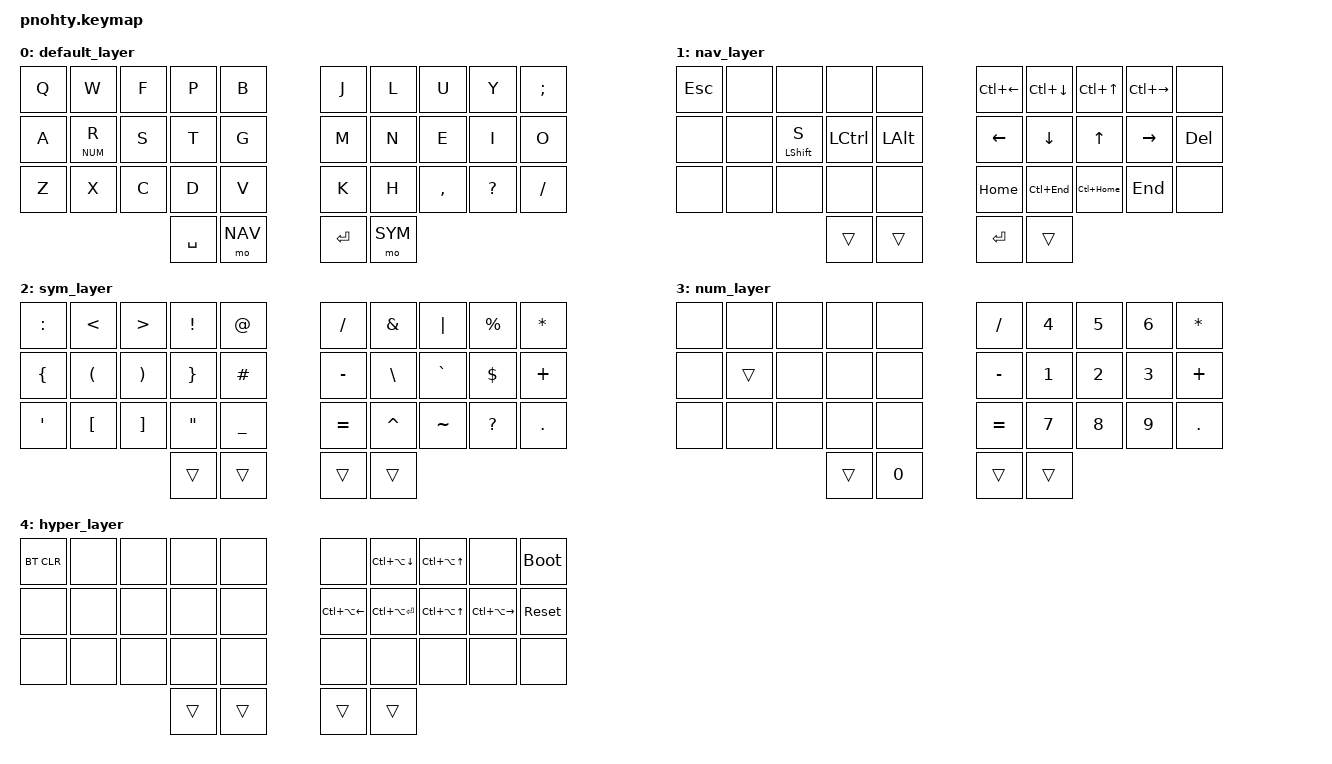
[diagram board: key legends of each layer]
/*
 * Copyright (c) 2020 The ZMK Contributors
 * SPDX-License-Identifier: MIT
 *
 * PNOHTY 34-Key Custom Layout
 * Features: Colemak-DH, Nav Layer (Vim Mirror), Sym Layer (Code), Num Layer (Calc)
 */

/* PNOHTY 34-Key Layout for Sweep Bling (RP2040) */
#include <behaviors.dtsi>
#include <dt-bindings/zmk/keys.h>
#include <dt-bindings/zmk/bt.h>
#include <dt-bindings/zmk/outputs.h>
#include <dt-bindings/zmk/pointing.h>

/* LAYERS */
#define BASE 0
#define NAV  1
#define SYM  2
#define NUM  3
#define HYP  4

/ {
    /* -----------------------------------------------------------------------------------------
     * BEHAVIORS (Hold-Taps and Layer Logic)
     * -----------------------------------------------------------------------------------------
     */
    behaviors {
        /* CRITICAL: LT_NUM for Left Ring 'R' (Num Layer) */
        lt_num: layer_tap_num {
            compatible = "zmk,behavior-hold-tap";
            label = "LAYER_TAP_NUM";
            #binding-cells = <2>;
            flavor = "tap-preferred";
            tapping-term-ms = <200>;
            quick-tap-ms = <175>;
            require-prior-idle-ms = <150>; // Prevents "are" from becoming "a2e"
            bindings = <&mo>, <&kp>;
        };

        /* Home Row Mod Shift (S key on Nav Layer) */
        hm_s: homerow_mod_shift {
            compatible = "zmk,behavior-hold-tap";
            label = "HOMEROW_MOD_SHIFT";
            #binding-cells = <2>;
            flavor = "tap-preferred";
            tapping-term-ms = <175>;
            quick-tap-ms = <175>;
            bindings = <&kp>, <&kp>;
        };
        
        /* Sticky Shift for Base Layer Combo (U+Y) */
        sk_sft: sticky_shift {
            compatible = "zmk,behavior-sticky-key";
            label = "STICKY_SHIFT";
            #binding-cells = <1>;
            bindings = <&kp>;
            release-after-ms = <2000>;
            quick-release;
            ignore-modifiers;
        };
    };

    /* -----------------------------------------------------------------------------------------
     * COMBOS
     * -----------------------------------------------------------------------------------------
     */
    combos {
        compatible = "zmk,combos";

        /* Base Layer: One-Shot Shift (U + Y) */
        combo_shift {
            timeout-ms = <50>;
            key-positions = <7 8>; // U(7) Y(8)
            bindings = <&sk_sft LSHFT>;
            layers = <BASE>;
        };

        /* Hyper Layer Activation (Left Outer Thumb + Right Outer Thumb) */
        combo_hyper_layer {
            timeout-ms = <50>;
            key-positions = <30 33>; // Left Outer(30) + Right Outer(33)
            bindings = <&mo HYP>;
        };

        /* Raycast Search (Right Index + Middle) -> Cmd+Space */
        combo_raycast {
            timeout-ms = <50>;
            key-positions = <16 17>; // N(16) E(17)
            bindings = <&kp LG(SPACE)>;
            layers = <BASE>;
        };
    };

    /* -----------------------------------------------------------------------------------------
     * KEYMAP
     * -----------------------------------------------------------------------------------------
     */
    keymap {
        compatible = "zmk,keymap";

        /* * LAYER 0: BASE (Colemak-DH)
         * L_Inner_Thumb: Space
         * L_Outer_Thumb: Backspace / NAV Layer
         * R_Inner_Thumb: Enter
         * R_Outer_Thumb: Space / SYM Layer
         */
        default_layer {
            bindings = <
            &kp Q       &kp W       &kp F       &kp P           &kp B           &kp J       &kp L       &kp U       &kp Y       &kp SEMI
            &kp A       &lt_num NUM R &kp S     &kp T           &kp G           &kp M       &kp N       &kp E       &kp I       &kp O
            &kp Z       &kp X       &kp C       &kp D           &kp V           &kp K       &kp H       &kp COMMA   &kp QMARK   &kp FSLH
                                    &kp SPACE   &mo NAV         &kp ENTER       &mo SYM
            >;
        };

        /*
         * LAYER 1: NAV (Left Outer Thumb Hold)
         * Left Hand: Modifiers (Shift on S)
         * Right Hand: Vim Mirror Navigation (LC(KEY) sends Ctrl+Arrow)
         */
        nav_layer {
            bindings = <
            &kp ESC     &none       &none       &none           &none           &kp LC(LEFT) &kp LC(DOWN) &kp LC(UP) &kp LC(RIGHT) &none
            &none       &none       &hm_s LSHFT S &kp LCTRL     &kp LALT        &kp LEFT     &kp DOWN     &kp UP     &kp RIGHT     &kp DEL
            &none       &none       &none       &none           &none           &kp HOME     &kp LC(END)  &kp LC(HOME) &kp END     &none
                                    &trans      &trans          &kp ENTER       &trans
            >;
        };

        /*
         * LAYER 2: SYM (Right Outer Thumb Hold)
         * Left Hand: Python/SQL Structure
         * Right Hand: Math & Utility (Same as NUM math keys)
         */
        sym_layer {
            bindings = <
            &kp COLON   &kp LT      &kp GT      &kp EXCL        &kp AT          &kp FSLH    &kp AMPS    &kp PIPE    &kp PRCNT   &kp STAR
            &kp LBRC    &kp LPAR    &kp RPAR    &kp RBRC        &kp HASH        &kp MINUS   &kp BSLH    &kp GRAVE   &kp DLLR    &kp PLUS
            &kp SQT     &kp LBKT    &kp RBKT    &kp DQT         &kp UNDER       &kp EQUAL   &kp CARET   &kp TILDE   &kp QMARK   &kp DOT
                                    &trans      &trans          &trans          &trans
            >;
        };

        /*
         * LAYER 3: NUM (Left Ring 'R' Hold)
         * Right Hand: Calculator Grid (123 Home, 456 Top, 789 Bottom)
         * Math columns are identical to SYM layer.
         */
        num_layer {
            bindings = <
            &none       &none       &none       &none           &none           &kp FSLH    &kp N4      &kp N5      &kp N6      &kp STAR
            &none       &trans      &none       &none           &none           &kp MINUS   &kp N1      &kp N2      &kp N3      &kp PLUS
            &none       &none       &none       &none           &none           &kp EQUAL   &kp N7      &kp N8      &kp N9      &kp DOT
                                    &trans      &kp N0          &trans          &trans
            >;
        };

        /*
         * LAYER 4: HYPER / WINDOWS / SYSTEM (Both Outer Thumbs)
         */
        hyper_layer {
            bindings = <
            &bt BT_CLR  &none       &none       &none           &none           &none           &kp LC(LA(DOWN)) &kp LC(LA(UP)) &none &bootloader
            &none       &none       &none       &none           &none           &kp LC(LA(LEFT)) &kp LC(LA(ENTER)) &kp LC(LA(UP)) &kp LC(LA(RIGHT)) &sys_reset
            &none       &none       &none       &none           &none           &none           &none       &none       &none       &none
                                    &trans      &trans          &trans          &trans
            >;
        };
    };
};
